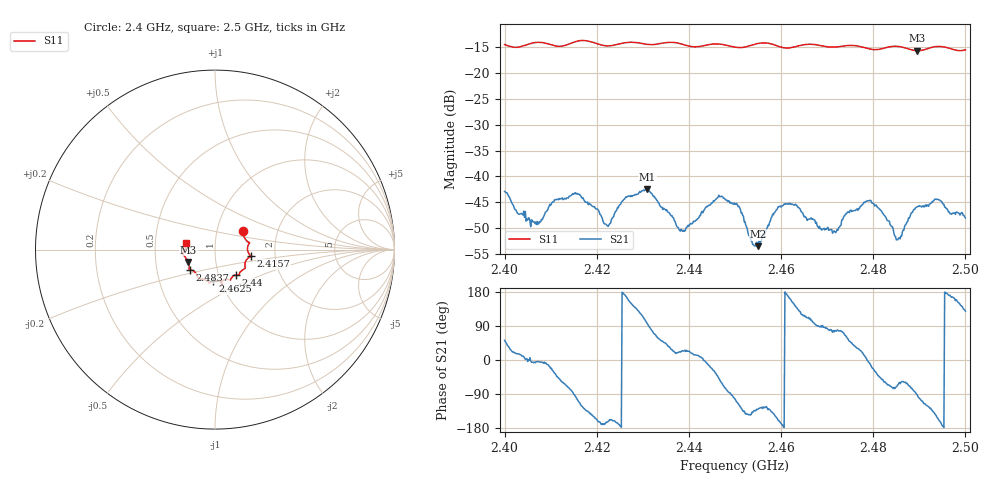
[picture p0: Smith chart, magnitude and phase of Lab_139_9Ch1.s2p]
# Hz S RI R 50
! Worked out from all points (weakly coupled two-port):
!   601 points, 2.4 GHz to 2.5 GHz, reference 50 ohm
!   highest |S21| = -42.49 dB at 2.431 GHz (marker M1); lowest = -53.5 dB at 2.455 GHz (marker M2)
!   lowest |S11| = -15.7 dB at 2.4895 GHz (marker M3), VSWR 1.39, Z = 36.7 - j5.17 ohm
!   |S11| at or under -10 dB: start of sweep to end of sweep
!   S12 and S22 are empty: the file has one direction only
!   S11 on the Smith chart (normalised r, x): 2.4 GHz: 1.33, +0.29; 2.4157 GHz: 1.49, -0.11; 2.44 GHz: 1.21, -0.35; 2.4625 GHz: 0.92, -0.34; 2.4837 GHz: 0.74, -0.17; 2.5 GHz: 0.72, +0.05
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2.4e9  0.1559 0.1049  0.00443 0.00562  0 0  0 0
2.407e9  0.1933 0.0395  0.00341 -0.000247  0 0  0 0
2.415667e9  0.1989 -0.0357  -0.00142 -0.00673  0 0  0 0
2.416667e9  0.2018 -0.0391  -0.00328 -0.00542  0 0  0 0
2.422333e9  0.1696 -0.0671  -0.00317 -0.000977  0 0  0 0
2.431e9  0.1475 -0.1175  -0.000708 0.00748  0 0  0 0
2.433333e9  0.1356 -0.134  0.003 0.0047  0 0  0 0
2.44e9  0.1155 -0.1403  0.00303 0.00132  0 0  0 0
2.446667e9  0.0839 -0.1703  0.00393 -0.005  0 0  0 0
2.45e9  0.064 -0.1657  -0.00118 -0.00525  0 0  0 0
2.455e9  0.0372 -0.189  -0.00135 -0.00163  0 0  0 0
2.459333e9  0.0264 -0.1792  -0.00473 -0.00184  0 0  0 0
2.4625e9  -0.00975 -0.1763  -0.00475 0.00253  0 0  0 0
2.466667e9  -0.0329 -0.1863  -0.000971 0.00374  0 0  0 0
2.471667e9  -0.0643 -0.1656  0.000628 0.00286  0 0  0 0
2.479e9  -0.1045 -0.1355  0.00579 -0.000601  0 0  0 0
2.483333e9  -0.138 -0.1123  0.00151 -0.00339  0 0  0 0
2.483667e9  -0.1399 -0.1121  0.00124 -0.00318  0 0  0 0
2.4855e9  -0.1446 -0.1077  0.00115 -0.00226  0 0  0 0
2.4895e9  -0.1487 -0.0685  -0.000111 -0.00509  0 0  0 0
2.493833e9  -0.1783 -0.0268  -0.00528 -0.00289  0 0  0 0
2.5e9  -0.163 0.0363  -0.0025 0.00308  0 0  0 0
